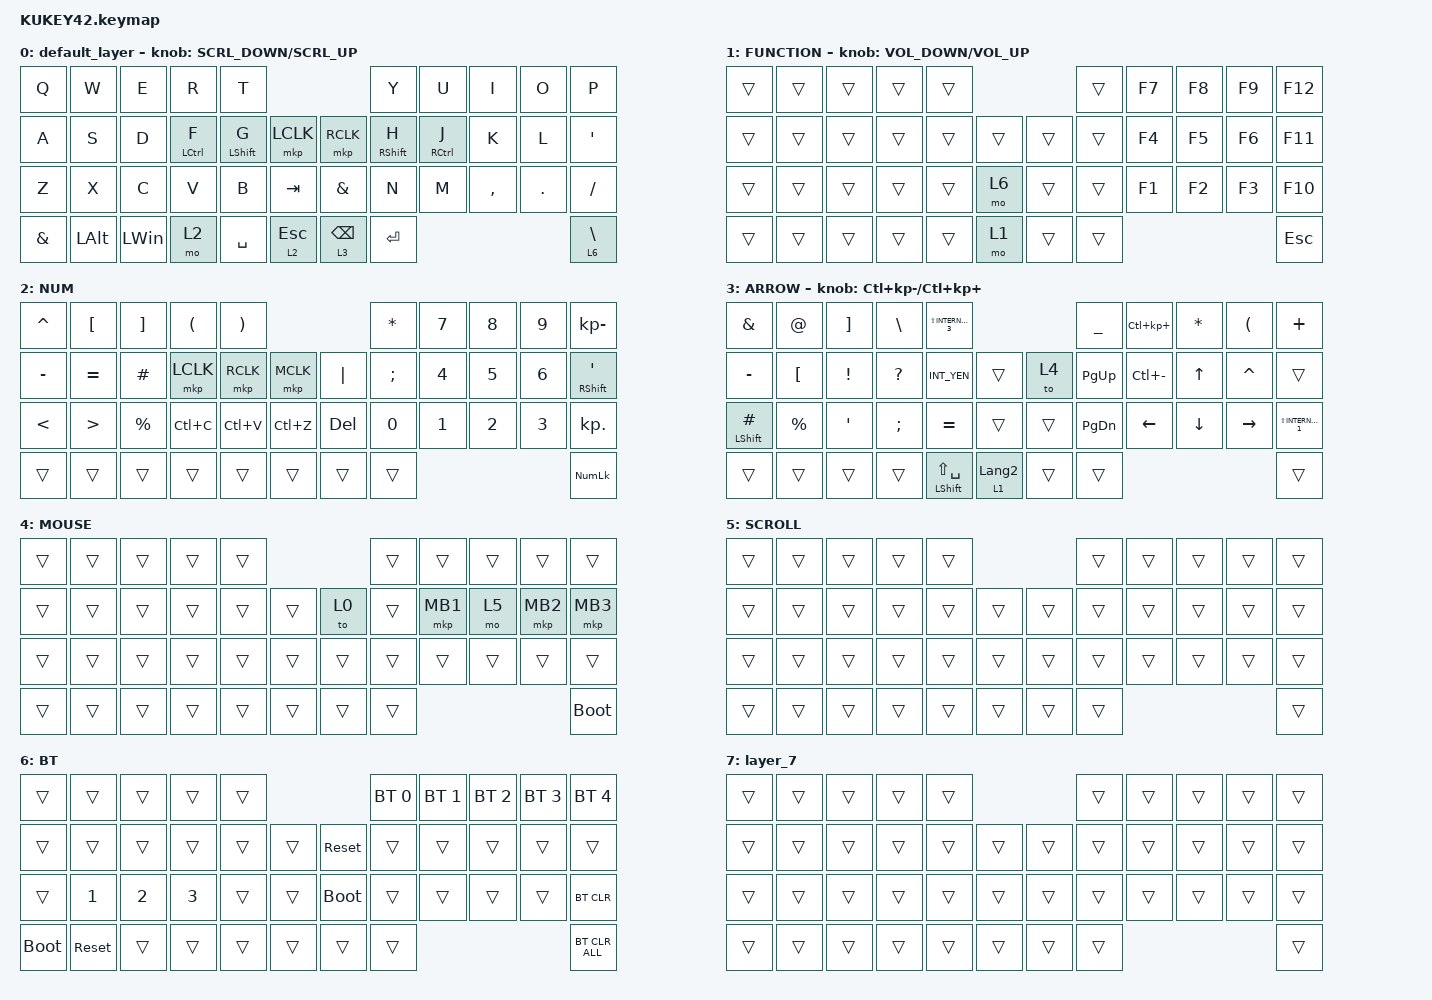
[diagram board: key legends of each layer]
#define ZMK_POINTING_DEFAULT_SCRL_VAL 80

#include <behaviors.dtsi>
#include <dt-bindings/zmk/bt.h>
#include <dt-bindings/zmk/keys.h>
#include <dt-bindings/zmk/pointing.h>

#define MOUSE 4
#define SCROLL 5
#define NUM 6

&mt {
    flavor = "balanced";
    quick-tap-ms = <0>;
};

/ {
    combos { compatible = "zmk,combos"; };

    macros {
        to_layer_0: to_layer_0 {
            compatible = "zmk,behavior-macro-one-param";
            #binding-cells = <1>;
            bindings = <&to 0 &macro_param_1to1 &kp MACRO_PLACEHOLDER>;
            label = "TO_LAYER_0";
        };
    };

    behaviors {
        lt_to_layer_0: lt_to_layer_0 {
            compatible = "zmk,behavior-hold-tap";
            label = "LAYER_TAP_TO_0";
            bindings = <&mo>, <&to_layer_0>;

            #binding-cells = <2>;
            tapping-term-ms = <200>;
        };

        tapdance_kana: tapdance_kana {
            compatible = "zmk,behavior-tap-dance";
            label = "TAPDANCE_KANA";
            #binding-cells = <0>;
            bindings = <&kp INT2>, <&kp LANGUAGE_2>, <&sl 1>;

            tapping-term-ms = <400>;
        };

        WheelScroll: WheelScroll {
            compatible = "zmk,behavior-sensor-rotate-var";
            label = "WHEELSCROLL";
            #sensor-binding-cells = <2>;
            bindings = <&msc>, <&msc>;

            tap-ms = <20>;
        };
    };

    keymap {
        compatible = "zmk,keymap";

        default_layer {
            bindings = <
&kp Q          &kp W         &kp E         &kp R               &kp T                                                &kp Y              &kp U                &kp I      &kp O    &kp P
&kp A          &kp S         &kp D         &mt LEFT_CONTROL F  &mt LEFT_SHIFT G  &mkp LCLK         &mkp RCLK        &mt RIGHT_SHIFT H  &mt RIGHT_CONTROL J  &kp K      &kp L    &kp SINGLE_QUOTE
&kp Z          &kp X         &kp C         &kp V               &kp B             &kp TAB           &kp AMPERSAND    &kp N              &kp M                &kp COMMA  &kp DOT  &kp SLASH
&kp AMPERSAND  &kp LEFT_ALT  &kp LEFT_WIN  &mo 2               &kp SPACE         &lt 2 ESCAPE      &lt 3 BACKSPACE  &kp ENTER                                                   &lt 6 BSLH
            >;

            sensor-bindings = <&WheelScroll SCRL_DOWN SCRL_UP>;
        };

        FUNCTION {
            bindings = <
&trans  &trans  &trans  &trans  &trans                      &trans  &kp F7  &kp F8  &kp F9  &kp F12
&trans  &trans  &trans  &trans  &trans  &trans      &trans  &trans  &kp F4  &kp F5  &kp F6  &kp F11
&trans  &trans  &trans  &trans  &trans  &mo 6       &trans  &trans  &kp F1  &kp F2  &kp F3  &kp F10
&trans  &trans  &trans  &trans  &trans  &mo 1       &trans  &trans                          &kp ESCAPE
            >;

            sensor-bindings = <&inc_dec_kp C_VOLUME_DOWN C_VOLUME_UP>;
        };

        NUM {
            bindings = <
&kp CARET  &kp LEFT_BRACKET  &kp RIGHT_BRACKET  &kp LEFT_PARENTHESIS  &kp RIGHT_PARENTHESIS                             &kp ASTRK      &kp N7        &kp N8        &kp N9        &kp KP_MINUS
&kp MINUS  &kp EQUAL         &kp HASH           &mkp LCLK             &mkp RCLK              &mkp MCLK      &kp PIPE    &kp SEMICOLON  &kp NUMBER_4  &kp N5        &kp NUMBER_6  &mt RIGHT_SHIFT SINGLE_QUOTE
&kp LT     &kp GT            &kp PRCNT          &kp LC(C)             &kp LC(V)              &kp LC(Z)      &kp DELETE  &kp N0         &kp NUMBER_1  &kp NUMBER_2  &kp NUMBER_3  &kp KP_DOT
&trans     &trans            &trans             &trans                &trans                 &trans         &trans      &trans                                                   &kp KP_NUMLOCK
            >;
        };

        ARROW {
            bindings = <
&kp AMPERSAND        &kp AT_SIGN       &kp RIGHT_BRACKET  &kp BACKSLASH  &kp LS(INTERNATIONAL_3)                                 &kp UNDER      &kp LC(KP_PLUS)  &kp ASTERISK    &kp LEFT_PARENTHESIS  &kp PLUS
&kp MINUS            &kp LEFT_BRACKET  &kp EXCLAMATION    &kp QUESTION   &kp INT_YEN               &trans                &to 4   &kp PAGE_UP    &kp LC(MINUS)    &kp UP_ARROW    &kp CARET             &trans
&mt LEFT_SHIFT HASH  &kp PERCENT       &kp SINGLE_QUOTE   &kp SEMICOLON  &kp EQUAL                 &trans                &trans  &kp PAGE_DOWN  &kp LEFT_ARROW   &kp DOWN_ARROW  &kp RIGHT_ARROW       &kp LS(INTERNATIONAL_1)
&trans               &trans            &trans             &trans         &mt LEFT_SHIFT LS(SPACE)  &lt 1 LANGUAGE_2      &trans  &trans                                                                &trans
            >;

            sensor-bindings = <&inc_dec_kp LC(KP_MINUS) LC(KP_PLUS)>;
        };

        MOUSE {
            bindings = <
&trans  &trans  &trans  &trans  &trans                      &trans  &trans    &trans  &trans    &trans
&trans  &trans  &trans  &trans  &trans  &trans      &to 0   &trans  &mkp MB1  &mo 5   &mkp MB2  &mkp MB3
&trans  &trans  &trans  &trans  &trans  &trans      &trans  &trans  &trans    &trans  &trans    &trans
&trans  &trans  &trans  &trans  &trans  &trans      &trans  &trans                              &bootloader
            >;
        };

        SCROLL {
            bindings = <
&trans  &trans  &trans  &trans  &trans                      &trans  &trans  &trans  &trans  &trans
&trans  &trans  &trans  &trans  &trans  &trans      &trans  &trans  &trans  &trans  &trans  &trans
&trans  &trans  &trans  &trans  &trans  &trans      &trans  &trans  &trans  &trans  &trans  &trans
&trans  &trans  &trans  &trans  &trans  &trans      &trans  &trans                          &trans
            >;
        };

        BT {
            bindings = <
&trans       &trans        &trans        &trans        &trans                           &bt BT_SEL 0  &bt BT_SEL 1  &bt BT_SEL 2  &bt BT_SEL 3  &bt BT_SEL 4
&trans       &trans        &trans        &trans        &trans  &trans      &sys_reset   &trans        &trans        &trans        &trans        &trans
&trans       &kp NUMBER_1  &kp NUMBER_2  &kp NUMBER_3  &trans  &trans      &bootloader  &trans        &trans        &trans        &trans        &bt BT_CLR
&bootloader  &sys_reset    &trans        &trans        &trans  &trans      &trans       &trans                                                  &bt BT_CLR_ALL
            >;
        };

        layer_7 {
            bindings = <
&trans  &trans  &trans  &trans  &trans                      &trans  &trans  &trans  &trans  &trans
&trans  &trans  &trans  &trans  &trans  &trans      &trans  &trans  &trans  &trans  &trans  &trans
&trans  &trans  &trans  &trans  &trans  &trans      &trans  &trans  &trans  &trans  &trans  &trans
&trans  &trans  &trans  &trans  &trans  &trans      &trans  &trans                          &trans
            >;
        };
    };
};
